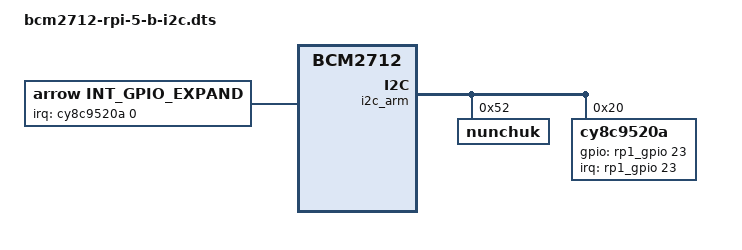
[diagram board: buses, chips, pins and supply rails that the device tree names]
// SPDX-License-Identifier: GPL-2.0
/dts-v1/;
/plugin/;

/ {
	compatible = "raspberrypi,5-model-b", "brcm,bcm2712";
	
	fragment@0 {
		target = <&i2c_arm>;
		__overlay__ {
			#address-cells = <1>;
			#size-cells = <0>;
			/*
			ioexp@20 {
				compatible = "arrow,ioexp";
				reg = <0x20>;
				status = "disabled";
			};
			*/
			/*
			adxl345@1d {
				compatible = "arrow,adxl345";
				reg = <0x1d>;
			};
			*/
			nunchuk@52 {
				compatible = "nunchuk";
				reg = <0x52>;
			};

			blinkm@9 {
				compatible = "thingm,blinkm";
				reg = <0x09>;
				status = "disabled";
				ledred {
					label = "red";
				};
				ledgreen {
					label = "green";
				};
				ledblue {
					label = "blue";
				};
			};
			cy8c9520a: cy8c9520a@20 {
				compatible = "cy8c9520a";
				reg = <0x20>;
				interrupt-controller;
				#interrupt-cells = <2>;
				gpio-controller;
				#gpio-cells = <2>;

				interrupts = <23 1>;
				interrupt-parent = <&rp1_gpio>;

				pinctrl-names = "default";
				pinctrl-0 = <&accel_int_pin>;
                                gpios = <&rp1_gpio 23 0>;

				#pwm-cells = <2>;
				pwm0 = <20>;	// pwm not supported
				pwm1 = <3>;
				pwm2 = <20>;	// pwm not supported
				pwm3 = <2>;

				cy8c9520apullups: pinmux1 {
					pins = "gpio0", "gpio1";
					bias-pull-up;
				};

				cy8c9520apulldowns: pinmux2 {
					pins = "gpio2";
					bias-pull-down;
				};

				cy8c9520adrivestrength: pinmux3 {
					pins = "gpio3";
					drive-strength;
				};
			};
		};
	};

	fragment@1 {
		target = <&soc>;
		__overlay__ {
			int_gpio {
				compatible = "arrow,int_gpio_expand";
				pinctrl-names = "default";
				interrupt-parent = <&cy8c9520a>;
				interrupts = <0 3>;
			};
		};
	};
};
